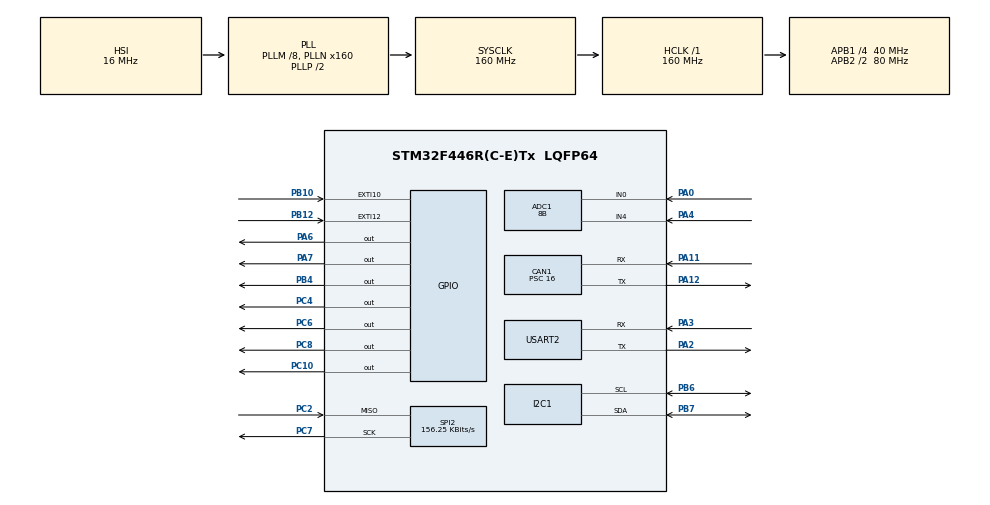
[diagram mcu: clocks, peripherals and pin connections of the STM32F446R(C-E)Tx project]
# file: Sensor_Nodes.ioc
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ADC1.Channel-1\#ChannelRegularConversion=ADC_CHANNEL_0
ADC1.ContinuousConvMode=DISABLE
ADC1.EOCSelection=ADC_EOC_SEQ_CONV
ADC1.NbrOfConversion=1
ADC1.NbrOfConversionFlag=1
ADC1.Rank-1\#ChannelRegularConversion=1
ADC1.Resolution=ADC_RESOLUTION_8B
ADC1.SamplingTime-1\#ChannelRegularConversion=ADC_SAMPLETIME_3CYCLES
ADC1.master=1
CAN1.BS1=CAN_BS1_3TQ
CAN1.CalculateBaudRate=500000
CAN1.CalculateTimeBit=2000
CAN1.CalculateTimeQuantum=400.0
CAN1.Prescaler=16
Mcu.Family=STM32F4
Mcu.Name=STM32F446R(C-E)Tx
Mcu.Package=LQFP64
NVIC.EXTI15_10_IRQn=true\:0\:0\:false\:false\:true\:true\:true\:true
NVIC.PriorityGroup=NVIC_PRIORITYGROUP_4
NVIC.SPI2_IRQn=true\:0\:0\:false\:false\:true\:true\:true\:true
NVIC.TIM1_BRK_TIM9_IRQn=true\:0\:0\:false\:false\:true\:true\:true\:true
NVIC.TIM1_CC_IRQn=true\:0\:0\:false\:false\:true\:true\:true\:true
NVIC.TIM1_TRG_COM_TIM11_IRQn=true\:0\:0\:false\:false\:true\:true\:true\:true
NVIC.TIM1_UP_TIM10_IRQn=true\:0\:0\:false\:false\:true\:true\:true\:true
NVIC.TIM2_IRQn=true\:0\:0\:false\:false\:true\:true\:true\:true
PA0-WKUP.Signal=SharedAnalog_PA0
PA11.Mode=CAN_Activate
PA11.Signal=CAN1_RX
PA12.Mode=CAN_Activate
PA12.Signal=CAN1_TX
PA2.Mode=Asynchronous
PA2.Signal=USART2_TX
PA3.Mode=Asynchronous
PA3.Signal=USART2_RX
PA4.Signal=SharedAnalog_PA4
PA6.Signal=GPIO_Output
PA7.Signal=GPIO_Output
PA8.Signal=S_TIM1_CH1
PB10.GPIO_ModeDefaultEXTI=GPIO_MODE_IT_RISING
PB10.Signal=GPXTI10
PB12.GPIO_ModeDefaultEXTI=GPIO_MODE_IT_RISING
PB12.Signal=GPXTI12
PB4.Signal=GPIO_Output
PB6.Mode=I2C
PB6.Signal=I2C1_SCL
PB7.Mode=I2C
PB7.Signal=I2C1_SDA
PC10.Signal=GPIO_Output
PC2.Mode=RX_Only_Simplex_Unidirect_Master
PC2.Signal=SPI2_MISO
PC4.Signal=GPIO_Output
PC6.Signal=GPIO_Output
PC7.Mode=RX_Only_Simplex_Unidirect_Master
PC7.Signal=SPI2_SCK
PC8.Signal=GPIO_Output
PC9.Signal=I2C3_SDA
ProjectManager.HeapSize=0x200
ProjectManager.StackSize=0x400
ProjectManager.TargetToolchain=STM32CubeIDE
RCC.AHBFreq_Value=160000000
RCC.APB1CLKDivider=RCC_HCLK_DIV4
RCC.APB1Freq_Value=40000000
RCC.APB1TimFreq_Value=80000000
RCC.APB2CLKDivider=RCC_HCLK_DIV2
RCC.APB2Freq_Value=80000000
RCC.APB2TimFreq_Value=160000000
RCC.CortexFreq_Value=160000000
RCC.HCLKFreq_Value=160000000
RCC.PLLM=8
RCC.PLLN=160
RCC.SYSCLKFreq_VALUE=160000000
RCC.SYSCLKSource=RCC_SYSCLKSOURCE_PLLCLK
RCC.USBFreq_Value=160000000
RCC.VCOOutputFreq_Value=320000000
SH.S_TIM1_CH1.0=TIM1_CH1
SH.SharedAnalog_PA0.0=GPIO_Analog
SH.SharedAnalog_PA0.1=ADC1_IN0,IN0
SH.SharedAnalog_PA4.0=GPIO_Analog
SH.SharedAnalog_PA4.1=ADC1_IN4,IN4
SPI2.BaudRatePrescaler=SPI_BAUDRATEPRESCALER_256
SPI2.CalculateBaudRate=156.25 KBits/s
SPI2.DataSize=SPI_DATASIZE_16BIT
SPI2.Direction=SPI_DIRECTION_2LINES_RXONLY
SPI2.Mode=SPI_MODE_MASTER
SPI2.TIMode=SPI_TIMODE_DISABLE
SPI2.VirtualType=VM_MASTER
TIM1.AutoReloadPreload=TIM_AUTORELOAD_PRELOAD_DISABLE
TIM1.Period=32000
TIM1.Prescaler=999
TIM2.Period=32000
TIM2.Prescaler=999
USART2.VirtualMode=VM_ASYNC
VP_TIM1_VS_ClockSourceINT.Mode=Internal
VP_TIM1_VS_ClockSourceITR.Mode=TriggerSource_ITR0
VP_TIM2_VS_ClockSourceINT.Mode=Internal
VP_TIM2_VS_ClockSourceITR.Mode=TriggerSource_ITR0
board=custom

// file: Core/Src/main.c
/* USER CODE BEGIN Header */
/**
  ******************************************************************************
  * @file           : main.c
  * @brief          : Main program body
  ******************************************************************************
  * @attention
  *
  * Copyright (c) 2024 STMicroelectronics.
  * All rights reserved.
  *
  * This software is licensed under terms that can be found in the LICENSE file
  * in the root directory of this software component.
  * If no LICENSE file comes with this software, it is provided AS-IS.
  *
  ******************************************************************************
  */
/* USER CODE END Header */
#include "main.h"
#include "adc.h"
#include "can.h"
#include "i2c.h"
#include "spi.h"
#include "tim.h"
#include "usart.h"
#include "gpio.h"

/* USER CODE BEGIN PD */

// WSS DEFS
#define TIMER_ELAPSED_HZ 5 // Adjust this based on your timer configuration
#define NUM_SAMPLES 128

/* USER CODE END PD */

/* USER CODE BEGIN PV */

uint8_t IS_FRONT = 1;

// WSS phase counters
uint32_t ticks0 = 0;
uint32_t ticks1 = 0;

uint8_t wss0 = 0;
uint8_t wss1 = 0;

// TMC DEFS
uint16_t* buf;
uint16_t pkt[2];
uint8_t idx = 0;

// determine which IC to read from
uint8_t tm_state = 0;

uint8_t tm0 = 0;
uint8_t tm1 = 0;

uint16_t ds0 = 0;
uint16_t ds1 = 1;

/* USER CODE END PV */

void SystemClock_Config(void);

/* USER CODE BEGIN 0 */

void transmit_uart(const char *string) {
    HAL_UART_Transmit(&huart2, (uint8_t*)string, strlen(string), 1000);
}

void FEB_CAN_Transmit_Front_Wheel_Speed()
{
  CAN_TxHeaderTypeDef TxHeader;
  uint8_t TxData[8];
  uint32_t TxMailbox;

  TxHeader.DLC = 8; // Data length
  TxHeader.IDE = CAN_ID_STD; // Standard ID
  TxHeader.RTR = CAN_RTR_DATA; // Data frame
  TxHeader.StdId = FEB_CAN_ID_FRONT_SENSOR_WHEEL_SPEED_1; // CAN ID
  TxHeader.ExtId = 0; // Not used with standard ID

  char send[50];
  sprintf(send, "%d rpm, %f mph \r\n", wss0, (wss0 * 0.06098555871));

  transmit_uart(send);

  // Fill the data
  TxData[0] = wss0;

  while (HAL_CAN_GetTxMailboxesFreeLevel(&hcan1) == 0) {}

  if (HAL_CAN_AddTxMessage(&hcan1, &TxHeader, TxData, &TxMailbox) != HAL_OK)
  {
    // Transmission request error
	 char msg[50];
	 sprintf(msg, "CAN transmit error");
	 transmit_uart(msg);
	 Error_Handler();
  }

  // Wait until the message is transmitted
   // while (HAL_CAN_IsTxMessagePending(&hcan1, TxMailbox)) {}
}

void FEB_CAN_Transmit_Rear_Wheel_Speed()
{
  CAN_TxHeaderTypeDef TxHeader;
  uint8_t TxData[8];
  uint32_t TxMailbox;

  TxHeader.DLC = 8; // Data length
  TxHeader.IDE = CAN_ID_STD; // Standard ID
  TxHeader.RTR = CAN_RTR_DATA; // Data frame
  TxHeader.StdId = FEB_CAN_ID_REAR_SENSOR_WHEEL_SPEED_1; // CAN ID
  TxHeader.ExtId = 0; // Not used with standard ID

  char send[50];
  sprintf(send, "%d rpm, %f mph \r\n", wss1, (wss1 * 0.06098555871));

  transmit_uart(send);

  // Fill the data
  TxData[0] = wss1;

  while (HAL_CAN_GetTxMailboxesFreeLevel(&hcan1) == 0) {}

  if (HAL_CAN_AddTxMessage(&hcan1, &TxHeader, TxData, &TxMailbox) != HAL_OK)
  {
    // Transmission request error
	 char msg[50];
	 sprintf(msg, "CAN transmit error");
	 transmit_uart(msg);
	 Error_Handler();
  }

  // Wait until the message is transmitted
   // while (HAL_CAN_IsTxMessagePending(&hcan1, TxMailbox)) {}
}

void FEB_CAN_Transmit_Front_LPOT()
{
  CAN_TxHeaderTypeDef TxHeader;
  uint8_t TxData[8];
  uint32_t TxMailbox;

  TxHeader.DLC = 8; // Data length
  TxHeader.IDE = CAN_ID_STD; // Standard ID
  TxHeader.RTR = CAN_RTR_DATA; // Data frame
  TxHeader.StdId = FEB_CAN_ID_FRONT_SENSOR_LIN_POT_1; // CAN ID
  TxHeader.ExtId = 0; // Not used with standard ID

  char send[50];
  sprintf(send, "%d rpm, %f mph \r\n", wss0, (wss0 * 0.06098555871));

  transmit_uart(send);

  // Fill the data
  TxData[0] = ds0;

  while (HAL_CAN_GetTxMailboxesFreeLevel(&hcan1) == 0) {}

  if (HAL_CAN_AddTxMessage(&hcan1, &TxHeader, TxData, &TxMailbox) != HAL_OK)
  {
    // Transmission request error
	 char msg[50];
	 sprintf(msg, "CAN transmit error");
	 transmit_uart(msg);
	 Error_Handler();
  }

  // Wait until the message is transmitted
   // while (HAL_CAN_IsTxMessagePending(&hcan1, TxMailbox)) {}
}

void FEB_CAN_Transmit_Rear_Left_LPOT()
{
  CAN_TxHeaderTypeDef TxHeader;
  uint8_t TxData[8];
  uint32_t TxMailbox;

  TxHeader.DLC = 8; // Data length
  TxHeader.IDE = CAN_ID_STD; // Standard ID
  TxHeader.RTR = CAN_RTR_DATA; // Data frame
  TxHeader.StdId = FEB_CAN_ID_REAR_SENSOR_LIN_POT_1_; // CAN ID
  TxHeader.ExtId = 0; // Not used with standard ID

  char msg[50];
  sprintf(msg, "%d adc, %d adc \r\n", ds0, ds1);

  transmit_uart(msg);

  // Fill the data
  TxData[0] = ds0;

  while (HAL_CAN_GetTxMailboxesFreeLevel(&hcan1) == 0) {}

  if (HAL_CAN_AddTxMessage(&hcan1, &TxHeader, TxData, &TxMailbox) != HAL_OK)
  {
    // Transmission request error
	 char msg[50];
	 sprintf(msg, "CAN transmit error");
	 transmit_uart(msg);
	 Error_Handler();
  }

  // Wait until the message is transmitted
   // while (HAL_CAN_IsTxMessagePending(&hcan1, TxMailbox)) {}
}

void FEB_CAN_Transmit_Rear_Right_LPOT()
{
  CAN_TxHeaderTypeDef TxHeader;
  uint8_t TxData[8];
  uint32_t TxMailbox;

  TxHeader.DLC = 8; // Data length
  TxHeader.IDE = CAN_ID_STD; // Standard ID
  TxHeader.RTR = CAN_RTR_DATA; // Data frame
  TxHeader.StdId = FEB_CAN_ID_REAR_SENSOR_LIN_POT_2; // CAN ID
  TxHeader.ExtId = 0; // Not used with standard ID

  char msg[50];
  sprintf(msg, "%d adc, %d adc \r\n", ds0, ds1);

  transmit_uart(msg);

  // Fill the data
  TxData[0] = ds1;

  while (HAL_CAN_GetTxMailboxesFreeLevel(&hcan1) == 0) {}

  if (HAL_CAN_AddTxMessage(&hcan1, &TxHeader, TxData, &TxMailbox) != HAL_OK)
  {
    // Transmission request error
	 char msg[50];
	 sprintf(msg, "CAN transmit error");
	 transmit_uart(msg);
	 Error_Handler();
  }

  // Wait until the message is transmitted
   // while (HAL_CAN_IsTxMessagePending(&hcan1, TxMailbox)) {}
}

void CAN_Transmit()
{
  CAN_TxHeaderTypeDef TxHeader;
  uint8_t TxData[8];
  uint32_t TxMailbox;

  TxHeader.DLC = 8; // Data length
  TxHeader.IDE = CAN_ID_STD; // Standard ID
  TxHeader.RTR = CAN_RTR_DATA; // Data frame
  TxHeader.StdId = 0x545; // CAN ID
  TxHeader.ExtId = 0; // Not used with standard ID

  char send[50];
  sprintf(send, "%d rpm, %f mph \r\n", wss0, (wss0 * 0.06098555871));

  transmit_uart(send);

  // Fill the data
  TxData[0] = wss0;
  TxData[1] = wss1;
  TxData[2] = tm0;
  TxData[3] = tm1;
  TxData[4] = ds0;
  TxData[5] = ds1;
  TxData[6] = 0;
  TxData[7] = 0;

  while (HAL_CAN_GetTxMailboxesFreeLevel(&hcan1) == 0) {}

  if (HAL_CAN_AddTxMessage(&hcan1, &TxHeader, TxData, &TxMailbox) != HAL_OK)
  {
    // Transmission request error
	 char msg[50];
	 sprintf(msg, "CAN transmit error");
	 transmit_uart(msg);
	 Error_Handler();
  }

  // Wait until the message is transmitted
   // while (HAL_CAN_IsTxMessagePending(&hcan1, TxMailbox)) {}
}

uint16_t FEB_Read_ADC(uint32_t channel){
	ADC_ChannelConfTypeDef sConfig={0};
	sConfig.Channel = channel;
	sConfig.Rank = 1;
	sConfig.SamplingTime = ADC_SAMPLETIME_480CYCLES;

	if (HAL_ADC_ConfigChannel(&hadc1, &sConfig) != HAL_OK)
	{
//	   Error_Handler();
	}

	HAL_ADC_Start(&hadc1);
	HAL_ADC_PollForConversion(&hadc1, 100);
	return (uint16_t)HAL_ADC_GetValue(&hadc1);

}

// WSS transmit data
void HAL_TIM_PeriodElapsedCallback(TIM_HandleTypeDef *htim)
{
	if (htim->Instance == TIM1)  // verify if the interrupt comes from TIM1
    {
		wss0 = (uint8_t) ((float) ticks0 * TIMER_ELAPSED_HZ / 84.0 * 60.0);
		wss1 = (uint8_t) ((float) ticks1 * TIMER_ELAPSED_HZ / 84.0 * 60.0);

		//char msg[50];
		//sprintf(msg, "%d RPM, %d RPM \r\n", wss0, wss1);

		//transmit_uart(msg);
		// add can TX
		ticks0 = 0;
		ticks1 = 0;

//		 if (HAL_ADC_Start(&hadc1) != HAL_OK) {
//			  // Start Error
//			  return 0;
//
//		 }
//		// do displacement reading
//	    if (HAL_ADC_PollForConversion(&hadc1, HAL_MAX_DELAY) == HAL_OK) {
//	        // Get the converted values
//	        ds0 = HAL_ADC_GetValue(&hadc1);  // First channel (ADC_IN0)
//	        //ds1 = HAL_ADC_GetValue(&hadc1);  // Second channel (ADC_IN4)
//
//	    }
//
//	    if (HAL_ADC_PollForConversion(&hadc1, HAL_MAX_DELAY) == HAL_OK) {
//		        // Get the converted values
//		        //ds0 = HAL_ADC_GetValue(&hadc1);  // First channel (ADC_IN0)
//		     xds1 = HAL_ADC_GetValue(&hadc1);  // Second channel (ADC_IN4)
//
//		}
//
//	    HAL_ADC_Stop(&hadc1);
		ds0 = FEB_Read_ADC(ADC_CHANNEL_0);
		ds1 = FEB_Read_ADC(ADC_CHANNEL_4);

//		char msg[50];
//		sprintf(msg, "%d adc, %d adc \r\n", ds0, ds1);
//
//		transmit_uart(msg);

		if (IS_FRONT) {
			FEB_CAN_Transmit_Front_LPOT();
		} else {
			FEB_CAN_Transmit_Rear_Left_LPOT();
			FEB_CAN_Transmit_Rear_Right_LPOT();
		}

    }

	// CAN sensor report generation
	if (htim->Instance == TIM2) {
//		CAN_Transmit();
//		  char send[50];
//		  sprintf(send, "%d rpm, %f mph \r\n", wss1, (wss1 * 0.06098555871));
//
//		  transmit_uart(send);

		  if (IS_FRONT) {
			  FEB_CAN_Transmit_Front_Wheel_Speed();
		  } else {
			  FEB_CAN_Transmit_Rear_Wheel_Speed();
		  }
	}
}

void HAL_GPIO_EXTI_Callback(uint16_t GPIO_Pin)
{
	char msg[50];
	sprintf(msg, "pin: %i", GPIO_Pin);
    //transmit_uart(msg);

	// WSS COS (or sensor 1)
    if(GPIO_Pin == GPIO_PIN_10)
    {
        // Handle GPIO_PIN_10 interrupt
        ticks0++;
    }

    // WSS SIN (or sensor 2)
    if(GPIO_Pin == GPIO_PIN_12)
	{
		// Handle GPIO_PIN_12 interrupt
		ticks1++;
	}

    __HAL_GPIO_EXTI_CLEAR_IT(GPIO_Pin);
}

// Callback function to handle received data
void HAL_SPI_RxCpltCallback(SPI_HandleTypeDef *hspi) {
    if (hspi->Instance == SPI2) {
		pkt[idx] = *buf;
		idx = idx + 1;
        char msg[50];

		if (idx == 2) {
			uint32_t val = (((uint32_t) pkt[1]) << 16) | pkt[0];

			uint8_t fault = val & (1 << 16);

		    // Shift right by 18 bits to align to the right, then mask to get the last 14 bits
		    int16_t rawThermoTemp = (int16_t)((val >> 18) & 0x3FFF); // 0x3FFF is the mask for 14 bits

		    // Check if thermocouple temperature data is negative
		    if (rawThermoTemp & 0x2000) { // 0x2000 is the mask for the sign bit in the 14-bit temperature
		        rawThermoTemp |= 0xC000; // Sign extend to 16 bits for negative numbers
		    }

		    // Convert the 14-bit thermocouple data to temperature (assuming 0.25°C resolution)
		    float thermocoupleTemp = rawThermoTemp * 0.25;

		    // Extract the 12-bit internal junction temperature data
		    // Bits D15-D4 are the junction temperature
		    // Shift right by 4 bits to align to the right, then mask to get the last 12 bits
		    int16_t rawJunctionTemp = (int16_t)((val >> 4) & 0x0FFF); // 0x0FFF is the mask for 12 bits

		    // Check if junction temperature data is negative
		    if (rawJunctionTemp & 0x0800) { // 0x0800 is the mask for the sign bit in the 12-bit temperature
		        rawJunctionTemp |= 0xF000; // Sign extend to 16 bits for negative numbers
		    }

		    // Convert the 12-bit junction data to temperature (assuming 0.0625°C resolution)
		    float junctionTemp = rawJunctionTemp * 0.0625;

		    if (fault == 1) {
		    	sprintf(msg, "thermocouple fault detected!");
		    } else {
				sprintf(msg, "(TM %i) thermocouple (internal): %0.2f (%0.2f) \r\n", tm_state, thermocoupleTemp, junctionTemp);

		    }

			//transmit_uart(msg);

			if (tm_state == 0) {
				// disable TC0S (PB6) and enable TC1S (PB8) (active low)
				HAL_GPIO_WritePin(GPIOC, GPIO_PIN_6, GPIO_PIN_SET);
				HAL_GPIO_WritePin(GPIOC, GPIO_PIN_8, GPIO_PIN_RESET);
				tm0 = (uint8_t) thermocoupleTemp;

				tm_state = 1;
			} else if (tm_state == 1) {
				// enable TC0S (PB6) and disable TC1S (PB8) (active low)
				HAL_GPIO_WritePin(GPIOC, GPIO_PIN_6, GPIO_PIN_RESET);
				HAL_GPIO_WritePin(GPIOC, GPIO_PIN_8, GPIO_PIN_SET);
				tm1 = (uint8_t) thermocoupleTemp;

				tm_state = 0;
			}

			idx = 0;
		}

        HAL_SPI_Receive_IT(&hspi2, buf, 1);
    }
}

/* USER CODE END 0 */

int main(void)
{

  /* MCU Configuration--------------------------------------------------------*/

  /* Reset of all peripherals, Initializes the Flash interface and the Systick. */
  HAL_Init();

  /* USER CODE BEGIN Init */
	MX_USART2_UART_Init();

	// clear serial console
	transmit_uart("\033[2J");

  /* USER CODE END Init */

  /* Configure the system clock */
  SystemClock_Config();

  /* Initialize all configured peripherals */
  MX_GPIO_Init();
  MX_ADC1_Init();
  MX_CAN1_Init();
  MX_I2C1_Init();
  MX_SPI2_Init();
  MX_USART2_UART_Init();
  MX_TIM1_Init();
  MX_TIM2_Init();
  /* USER CODE BEGIN 2 */
	transmit_uart("FEB Sensor Node peripherals initialized\r\n");
	if (HAL_TIM_Base_Start_IT(&htim1) != HAL_OK) {
		// Handling of potential error
		char msg[50];
		sprintf(msg, "TIM1 fault");
		transmit_uart(msg);
	}

	if (HAL_TIM_Base_Start_IT(&htim2) != HAL_OK) {
		// Handling of potential error
		char msg[50];
		sprintf(msg, "TIM2 fault");
		transmit_uart(msg);
	}

	if (HAL_CAN_Start(&hcan1) != HAL_OK) {
        // Code Error - Shutdown
	}

	// FEB_CAN_Init(&hcan1, 0);

	buf = (uint16_t*) malloc(sizeof(uint16_t));

	// enable TC0S (PB6) and disable TC1S (PB8)
	HAL_GPIO_WritePin(GPIOC, GPIO_PIN_6, GPIO_PIN_RESET);
	HAL_GPIO_WritePin(GPIOC, GPIO_PIN_8, GPIO_PIN_SET);

	HAL_SPI_Receive_IT(&hspi2, buf, 1);

  /* USER CODE END 2 */

  /* Infinite loop */
  while (1)
  {

  }
}

void SystemClock_Config(void)
{
  RCC_OscInitTypeDef RCC_OscInitStruct = {0};
  RCC_ClkInitTypeDef RCC_ClkInitStruct = {0};

  /** Configure the main internal regulator output voltage
  */
  __HAL_RCC_PWR_CLK_ENABLE();
  __HAL_PWR_VOLTAGESCALING_CONFIG(PWR_REGULATOR_VOLTAGE_SCALE1);

  /** Initializes the RCC Oscillators according to the specified parameters
  * in the RCC_OscInitTypeDef structure.
  */
  RCC_OscInitStruct.OscillatorType = RCC_OSCILLATORTYPE_HSI;
  RCC_OscInitStruct.HSIState = RCC_HSI_ON;
  RCC_OscInitStruct.HSICalibrationValue = RCC_HSICALIBRATION_DEFAULT;
  RCC_OscInitStruct.PLL.PLLState = RCC_PLL_ON;
  RCC_OscInitStruct.PLL.PLLSource = RCC_PLLSOURCE_HSI;
  RCC_OscInitStruct.PLL.PLLM = 8;
  RCC_OscInitStruct.PLL.PLLN = 160;
  RCC_OscInitStruct.PLL.PLLP = RCC_PLLP_DIV2;
  RCC_OscInitStruct.PLL.PLLQ = 2;
  RCC_OscInitStruct.PLL.PLLR = 2;
  if (HAL_RCC_OscConfig(&RCC_OscInitStruct) != HAL_OK)
  {
    Error_Handler();
  }

  /** Initializes the CPU, AHB and APB buses clocks
  */
  RCC_ClkInitStruct.ClockType = RCC_CLOCKTYPE_HCLK|RCC_CLOCKTYPE_SYSCLK
                              |RCC_CLOCKTYPE_PCLK1|RCC_CLOCKTYPE_PCLK2;
  RCC_ClkInitStruct.SYSCLKSource = RCC_SYSCLKSOURCE_PLLCLK;
  RCC_ClkInitStruct.AHBCLKDivider = RCC_SYSCLK_DIV1;
  RCC_ClkInitStruct.APB1CLKDivider = RCC_HCLK_DIV4;
  RCC_ClkInitStruct.APB2CLKDivider = RCC_HCLK_DIV2;

  if (HAL_RCC_ClockConfig(&RCC_ClkInitStruct, FLASH_LATENCY_5) != HAL_OK)
  {
    Error_Handler();
  }
}

void Error_Handler(void)
{
  __disable_irq();
  while (1)
  {
  }
}
